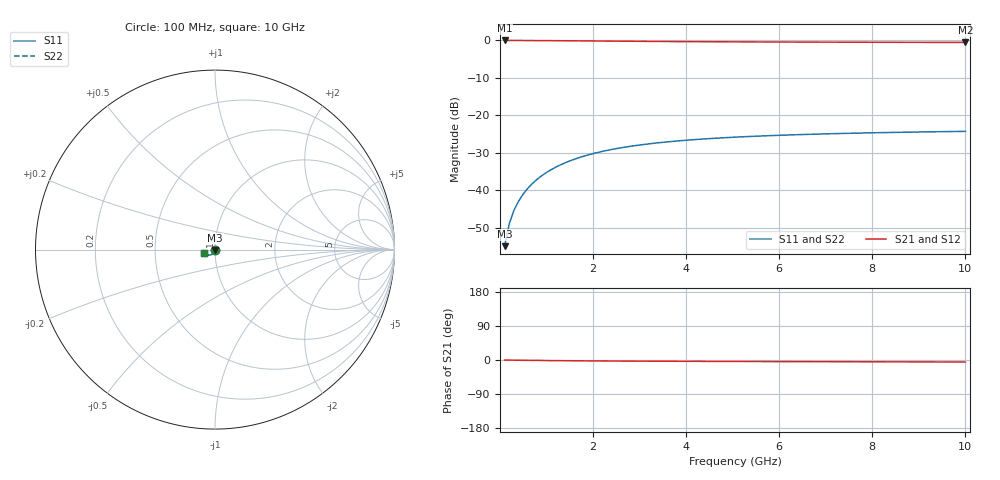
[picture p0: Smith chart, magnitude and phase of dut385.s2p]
! Touchstone file exported from HFSS 2024.1.0
!  File:  C:/UserFiles/LocalFiles/RDL_TSV_Batchsim/temp_TSV1_385_1779623333.aedt
!  Generated:  07:53:26 PM May 24, 2026
!  Design:  TSV1
!  Project:  temp_TSV1_385_1779623333
!  Setup:  Setup1
!  Solution:  Sweep
! Variables:
!  dtsv = 14.05um
!  hbump = 3um
!  htsv = 80.89um
!  lrdl = 252.1521522um
!  p = 40
!  p1 = 50.47um
!  t = 500um
!  trdl = 3um
!  wrdl = 24.89489489um
# GHz S MA R 50.000000
! Terminal data exported
! Port[1] = TSV22_T1
! Port[2] = TSV22_T2
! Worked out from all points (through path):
!   100 points, 100 MHz to 10 GHz, reference 50 ohm
!   highest |S21| = 0.00 dB at 100 MHz (marker M1); lowest = -0.5 dB at 10 GHz (marker M2)
!   lowest |S11| = -54.9 dB at 100 MHz (marker M3), VSWR 1.00, Z = 50 - j0.179 ohm
!   |S11| at or under -10 dB: start of sweep to end of sweep
!   |S22| runs from -54.9 to -24.3 dB; largest |S21 - S12| = 6.2e-15
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0.1  0.001793 -89.0  0.9999 -0.1  0.9999 -0.1  0.001793 -89.0
! Gamma 0 0 0 0
! Port Impedance 50 0 50 0
0.2  0.003585 -92.0  0.9997 -0.3  0.9997 -0.3  0.003585 -92.0
0.3  0.005374 -94.1  0.9994 -0.4  0.9994 -0.4  0.005374 -94.1
0.4  0.007153 -96.0  0.999 -0.6  0.999 -0.6  0.007153 -96.0
0.5  0.008914 -97.9  0.9985 -0.7  0.9985 -0.7  0.008914 -97.9
0.6  0.01065 -99.7  0.9979 -0.9  0.9979 -0.9  0.01065 -99.7
0.7  0.01236 -101.4  0.9973 -1.0  0.9973 -1.0  0.01236 -101.4
0.8  0.01404 -103.2  0.9965 -1.1  0.9965 -1.1  0.01404 -103.2
0.9  0.01568 -104.8  0.9957 -1.3  0.9957 -1.3  0.01568 -104.8
1.1  0.01884 -108.1  0.9939 -1.5  0.9939 -1.5  0.01884 -108.1
1.4  0.02325 -112.7  0.9909 -1.8  0.9909 -1.8  0.02325 -112.7
1.6  0.02596 -115.6  0.9887 -2.0  0.9887 -2.0  0.02596 -115.6
1.8  0.02849 -118.3  0.9865 -2.2  0.9865 -2.2  0.02849 -118.3
2.1  0.03195 -122.1  0.9831 -2.5  0.9831 -2.5  0.03195 -122.1
2.5  0.03597 -126.7  0.9787 -2.7  0.9787 -2.7  0.03597 -126.7
2.9  0.03941 -130.7  0.9745 -3.0  0.9745 -3.0  0.03941 -130.7
3.4  0.04301 -135.1  0.9698 -3.2  0.9698 -3.2  0.04301 -135.1
4.2  0.04753 -141.0  0.9634 -3.5  0.9634 -3.5  0.04753 -141.0
5.1  0.05132 -146.3  0.9576 -3.9  0.9576 -3.9  0.05132 -146.3
6.7  0.05595 -153.6  0.9502 -4.3  0.9502 -4.3  0.05595 -153.6
8.4  0.05911 -159.3  0.9448 -4.8  0.9448 -4.8  0.05911 -159.3
10  0.06113 -163.6  0.9413 -5.3  0.9413 -5.3  0.06112 -163.6
